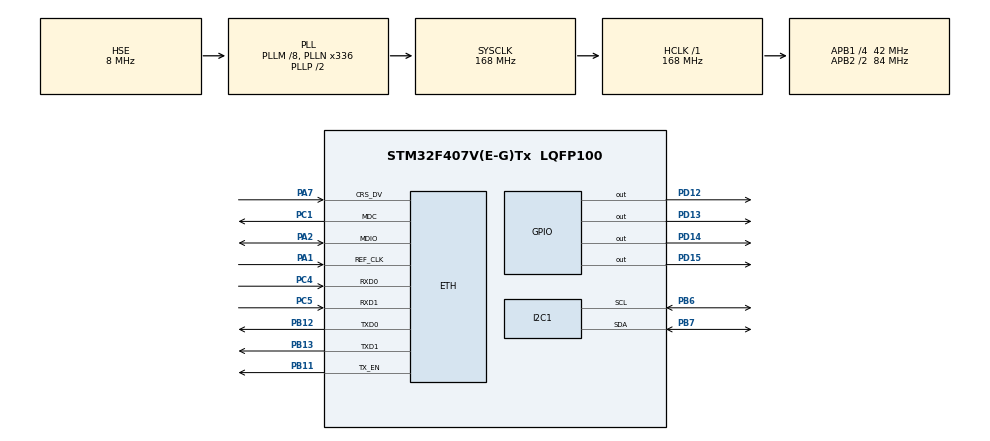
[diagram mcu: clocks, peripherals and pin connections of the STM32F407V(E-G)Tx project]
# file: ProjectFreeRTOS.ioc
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ETH.MediaInterface=ETH_MEDIA_INTERFACE_RMII
FREERTOS.Tasks01=defaultTask,24,512,StartDefaultTask,Default,NULL,Dynamic,NULL,NULL;networkTask,8,1024,StartNetworkTask,Default,NULL,Dynamic,NULL,NULL;tempTask,8,256,StartTempTask,Default,NULL,Dynamic,NULL,NULL
FREERTOS.configCHECK_FOR_STACK_OVERFLOW=1
LWIP.GATEWAY_ADDRESS=192.168.001.001
LWIP.IP_ADDRESS=192.168.001.012
LWIP.LWIP_DHCP=0
LWIP.NETMASK_ADDRESS=255.255.255.000
LWIP.Version=v2.0.3_Cube
Mcu.Family=STM32F4
Mcu.Name=STM32F407V(E-G)Tx
Mcu.Package=LQFP100
NVIC.ETH_IRQn=true\:5\:0\:false\:false\:true\:true\:false\:true
NVIC.PriorityGroup=NVIC_PRIORITYGROUP_4
PA1.Mode=RMII
PA1.Signal=ETH_REF_CLK
PA2.Mode=RMII
PA2.Signal=ETH_MDIO
PA7.Mode=RMII
PA7.Signal=ETH_CRS_DV
PB11.Mode=RMII
PB11.Signal=ETH_TX_EN
PB12.Mode=RMII
PB12.Signal=ETH_TXD0
PB13.Mode=RMII
PB13.Signal=ETH_TXD1
PB6.Mode=I2C
PB6.Signal=I2C1_SCL
PB7.Mode=I2C
PB7.Signal=I2C1_SDA
PC1.Mode=RMII
PC1.Signal=ETH_MDC
PC4.Mode=RMII
PC4.Signal=ETH_RXD0
PC5.Mode=RMII
PC5.Signal=ETH_RXD1
PD12.Signal=GPIO_Output
PD13.Signal=GPIO_Output
PD14.Signal=GPIO_Output
PD15.Signal=GPIO_Output
PH0-OSC_IN.Mode=HSE-External-Oscillator
PH0-OSC_IN.Signal=RCC_OSC_IN
PH1-OSC_OUT.Mode=HSE-External-Oscillator
PH1-OSC_OUT.Signal=RCC_OSC_OUT
ProjectManager.HeapSize=0x200
ProjectManager.StackSize=0x400
ProjectManager.TargetToolchain=STM32CubeIDE
RCC.48MHZClocksFreq_Value=84000000
RCC.AHBFreq_Value=168000000
RCC.APB1CLKDivider=RCC_HCLK_DIV4
RCC.APB1Freq_Value=42000000
RCC.APB1TimFreq_Value=84000000
RCC.APB2CLKDivider=RCC_HCLK_DIV2
RCC.APB2Freq_Value=84000000
RCC.APB2TimFreq_Value=168000000
RCC.CortexFreq_Value=168000000
RCC.HCLKFreq_Value=168000000
RCC.HSE_VALUE=8000000
RCC.HSI_VALUE=16000000
RCC.LSE_VALUE=32768
RCC.PLLM=8
RCC.PLLN=336
RCC.PLLSourceVirtual=RCC_PLLSOURCE_HSE
RCC.SYSCLKFreq_VALUE=168000000
RCC.SYSCLKSource=RCC_SYSCLKSOURCE_PLLCLK
RCC.VCOOutputFreq_Value=336000000
VP_FREERTOS_VS_CMSIS_V2.Mode=CMSIS_V2
VP_LWIP_VS_Enabled.Mode=Enabled
board=custom

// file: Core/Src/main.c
/* USER CODE BEGIN Header */
/**
  ******************************************************************************
  * @file           : main.c
  * @brief          : Main program body
  ******************************************************************************
  * @attention
  *
  * <h2><center>&copy; Copyright (c) 2019 STMicroelectronics.
  * All rights reserved.</center></h2>
  *
  * This software component is licensed by ST under BSD 3-Clause license,
  * the "License"; You may not use this file except in compliance with the
  * License. You may obtain a copy of the License at:
  *                        opensource.org/licenses/BSD-3-Clause
  *
  ******************************************************************************
  */
/* USER CODE END Header */

#include "main.h"
#include "cmsis_os.h"
#include "lwip.h"

/* USER CODE BEGIN Includes */

#include "lwip/api.h"
#include "task.h"

#include <stdio.h>
#include <string.h>
#include <math.h>

/* USER CODE END Includes */

I2C_HandleTypeDef hi2c1;

osThreadId_t defaultTaskHandle;
osThreadId_t networkTaskHandle;
osThreadId_t tempTaskHandle;
/* USER CODE BEGIN PV */

/* Generic */
signed char* overflowTaskName;

/* Network */
extern struct netif gnetif;
IpAddr serverIp = { 192, 168, 1, 9 };
ip_addr_t serverAddr;
u16_t serverPort = 3000;
char jsonString[50];
char requestString[150];
osSemaphoreId_t networkSemaphore;
err_t serverConnStatus = -1;

/* Temperature */
uint8_t data_write[3];
uint8_t data_read[2];
double avgTemp = -1; // average temp computed from our temp buffer
double baselineTemp = -1; // last sent temp. We use it to only send temp when the difference is big enough
double tempBuffer[TEMP_BUFFER_SIZE]; // temperature value buffer
osMessageQueueId_t tempQueue;

/* USER CODE END PV */

void SystemClock_Config(void);
static void MX_GPIO_Init(void);
static void MX_I2C1_Init(void);
void StartDefaultTask(void *argument);
void StartNetworkTask(void *argument);
void StartTempTask(void *argument);

/* USER CODE BEGIN PFP */

void createHttpTempRequest(char* outputString, IpAddr ip, u16_t port, double temp);
void parseDouble(char* output, double value, uint8_t precision);

/* USER CODE END PFP */

int main(void)
{
  /* USER CODE BEGIN 1 */

	// Convert our ip data structure into a format that lwip uses
	IP_ADDR4(&serverAddr, serverIp.addr0, serverIp.addr1, serverIp.addr2, serverIp.addr3);

	tempQueue = osMessageQueueNew(1, sizeof(double), NULL);
	networkSemaphore = osSemaphoreNew(1, 0, NULL);

  /* USER CODE END 1 */

  /* MCU Configuration--------------------------------------------------------*/

  /* Reset of all peripherals, Initializes the Flash interface and the Systick. */
  HAL_Init();

  /* Configure the system clock */
  SystemClock_Config();

  /* Initialize all configured peripherals */
  MX_GPIO_Init();
  MX_I2C1_Init();

  osKernelInitialize();

  /* Create the thread(s) */
  /* definition and creation of defaultTask */
  const osThreadAttr_t defaultTask_attributes = {
    .name = "defaultTask",
    .priority = (osPriority_t) osPriorityNormal,
    .stack_size = 512
  };
  defaultTaskHandle = osThreadNew(StartDefaultTask, NULL, &defaultTask_attributes);

  /* definition and creation of networkTask */
  const osThreadAttr_t networkTask_attributes = {
    .name = "networkTask",
    .priority = (osPriority_t) osPriorityLow,
    .stack_size = 1024
  };
  networkTaskHandle = osThreadNew(StartNetworkTask, NULL, &networkTask_attributes);

  /* definition and creation of tempTask */
  const osThreadAttr_t tempTask_attributes = {
    .name = "tempTask",
    .priority = (osPriority_t) osPriorityLow,
    .stack_size = 256
  };
  tempTaskHandle = osThreadNew(StartTempTask, NULL, &tempTask_attributes);

  /* USER CODE BEGIN RTOS_THREADS */
  /* add threads, ... */

  /*const osThreadAttr_t accTask_attributes = {
      .name = "accTask",
      .priority = (osPriority_t) osPriorityNormal,
      .stack_size = 128
    };
  accTaskHandle = osThreadNew(StartAccTask, NULL, &accTask_attributes);*/

  /* USER CODE END RTOS_THREADS */

  /* Start scheduler */
  osKernelStart();

  /* We should never get here as control is now taken by the scheduler */

  /* Infinite loop */
  while (1)
  {

  }
}

void SystemClock_Config(void)
{
  RCC_OscInitTypeDef RCC_OscInitStruct = {0};
  RCC_ClkInitTypeDef RCC_ClkInitStruct = {0};

  /** Configure the main internal regulator output voltage
  */
  __HAL_RCC_PWR_CLK_ENABLE();
  __HAL_PWR_VOLTAGESCALING_CONFIG(PWR_REGULATOR_VOLTAGE_SCALE1);
  /** Initializes the CPU, AHB and APB busses clocks
  */
  RCC_OscInitStruct.OscillatorType = RCC_OSCILLATORTYPE_HSE;
  RCC_OscInitStruct.HSEState = RCC_HSE_ON;
  RCC_OscInitStruct.PLL.PLLState = RCC_PLL_ON;
  RCC_OscInitStruct.PLL.PLLSource = RCC_PLLSOURCE_HSE;
  RCC_OscInitStruct.PLL.PLLM = 8;
  RCC_OscInitStruct.PLL.PLLN = 336;
  RCC_OscInitStruct.PLL.PLLP = RCC_PLLP_DIV2;
  RCC_OscInitStruct.PLL.PLLQ = 4;
  if (HAL_RCC_OscConfig(&RCC_OscInitStruct) != HAL_OK)
  {
    Error_Handler();
  }
  /** Initializes the CPU, AHB and APB busses clocks
  */
  RCC_ClkInitStruct.ClockType = RCC_CLOCKTYPE_HCLK|RCC_CLOCKTYPE_SYSCLK
                              |RCC_CLOCKTYPE_PCLK1|RCC_CLOCKTYPE_PCLK2;
  RCC_ClkInitStruct.SYSCLKSource = RCC_SYSCLKSOURCE_PLLCLK;
  RCC_ClkInitStruct.AHBCLKDivider = RCC_SYSCLK_DIV1;
  RCC_ClkInitStruct.APB1CLKDivider = RCC_HCLK_DIV4;
  RCC_ClkInitStruct.APB2CLKDivider = RCC_HCLK_DIV2;

  if (HAL_RCC_ClockConfig(&RCC_ClkInitStruct, FLASH_LATENCY_5) != HAL_OK)
  {
    Error_Handler();
  }
}

static void MX_I2C1_Init(void)
{

  hi2c1.Instance = I2C1;
  hi2c1.Init.ClockSpeed = 100000;
  hi2c1.Init.DutyCycle = I2C_DUTYCYCLE_2;
  hi2c1.Init.OwnAddress1 = 0;
  hi2c1.Init.AddressingMode = I2C_ADDRESSINGMODE_7BIT;
  hi2c1.Init.DualAddressMode = I2C_DUALADDRESS_DISABLE;
  hi2c1.Init.OwnAddress2 = 0;
  hi2c1.Init.GeneralCallMode = I2C_GENERALCALL_DISABLE;
  hi2c1.Init.NoStretchMode = I2C_NOSTRETCH_DISABLE;
  if (HAL_I2C_Init(&hi2c1) != HAL_OK)
  {
    Error_Handler();
  }

}

static void MX_GPIO_Init(void)
{
  GPIO_InitTypeDef GPIO_InitStruct = {0};

  /* GPIO Ports Clock Enable */
  __HAL_RCC_GPIOH_CLK_ENABLE();
  __HAL_RCC_GPIOC_CLK_ENABLE();
  __HAL_RCC_GPIOA_CLK_ENABLE();
  __HAL_RCC_GPIOB_CLK_ENABLE();
  __HAL_RCC_GPIOD_CLK_ENABLE();

  /*Configure GPIO pin Output Level */
  HAL_GPIO_WritePin(GPIOD, GPIO_PIN_12|GPIO_PIN_13|GPIO_PIN_14|GPIO_PIN_15, GPIO_PIN_RESET);

  /*Configure GPIO pins : PD12 PD13 PD14 PD15 */
  GPIO_InitStruct.Pin = GPIO_PIN_12|GPIO_PIN_13|GPIO_PIN_14|GPIO_PIN_15;
  GPIO_InitStruct.Mode = GPIO_MODE_OUTPUT_PP;
  GPIO_InitStruct.Pull = GPIO_NOPULL;
  GPIO_InitStruct.Speed = GPIO_SPEED_FREQ_LOW;
  HAL_GPIO_Init(GPIOD, &GPIO_InitStruct);

}

/* USER CODE BEGIN 4 */
/*void HAL_GPIO_EXTI_Callback(uint16_t GPIO_Pin)
{
	accDataRdyFlag = 1;
	HAL_GPIO_TogglePin(GPIOD, LED_ORANGE);
	//HAL_GPIO_EXTI_IRQHandler(GPIO_PIN_0);
}*/

void parseDouble(char* output, double value, uint8_t precision) {
	int integerPart = (int)value;
	float floatingPointPart = (value - integerPart) * pow(10, precision);
	sprintf(output, "%d.%d", (int)integerPart, (int)floatingPointPart);
}

void createHttpTempRequest(char* outputString, IpAddr ip, u16_t port, double temp) {
	char ipString[15];
	sprintf(ipString, "%d.%d.%d.%d", ip.addr0, ip.addr1, ip.addr2, ip.addr3);

	char jsonFormat[] = "{\"temp\":%s}";
	char tempString[10];
	parseDouble(tempString, temp, 4);
	sprintf(jsonString, jsonFormat, tempString);

	char requestFormat[] = "POST /temp HTTP/1.0\r\n\
Host: %s:%d\r\n\
Content-Type: application/json\r\n\
Content-Length: %d\r\n\
\r\n\
%s\r\n\
\r\n";

	sprintf(outputString, requestFormat, ipString, port, strlen(jsonString), jsonString);
}

void vApplicationStackOverflowHook(xTaskHandle xTask, signed char *pcTaskName) {
	overflowTaskName = pcTaskName;
	HAL_GPIO_WritePin(GPIOD, LED_RED, 1);
}

/* USER CODE END 4 */

void StartDefaultTask(void *argument)
{
  /* init code for LWIP */
  MX_LWIP_Init();
  /* USER CODE BEGIN 5 */

  /* Infinite loop */
  for(;;)
  {
	  /* Async init code */

	  /* LED indicators */

	  // Check if DHCP got an addr from router
	  if (gnetif.ip_addr.addr != 0) {
		  // Signal network task that the network is ready for sending data
		  osSemaphoreRelease(networkSemaphore);
		  HAL_GPIO_WritePin(GPIOD, LED_GREEN, 1);
	  }

	  osDelay(50);
  }
  /* USER CODE END 5 */
}

void StartNetworkTask(void *argument)
{
  /* USER CODE BEGIN StartNetworkTask */

	// Wait for network connection to be established
	osSemaphoreAcquire(networkSemaphore, portMAX_DELAY);

  /* Infinite loop */
  for(;;)
  {
	  // Wait for the new avg temp message
	  osMessageQueueGet(tempQueue, &avgTemp, NULL, portMAX_DELAY);

	  // Establish connection to server
	  struct netconn* conn = netconn_new(NETCONN_TCP);
	  serverConnStatus = netconn_connect(conn, &serverAddr, serverPort);
	  if (serverConnStatus == ERR_OK) {
		  // Send json temp value to server
		  createHttpTempRequest(requestString, serverIp, serverPort, avgTemp);
		  netconn_write(conn, requestString, strlen(requestString), NETCONN_NOFLAG);

		  // Indicate that data was sent
		  HAL_GPIO_TogglePin(GPIOD, LED_BLUE);
	  }
	  else {
		  HAL_GPIO_WritePin(GPIOD, LED_BLUE, 0);
	  }

	  netconn_delete(conn);

	  osDelay(100);
  }
  /* USER CODE END StartNetworkTask */
}

void StartTempTask(void *argument)
{
  /* USER CODE BEGIN StartTempTask */

	data_write[0] = MCP9808_REG_CONF;
	data_write[1] = 0x00;  // config msb
	data_write[2] = 0x00;  // config lsb
	HAL_I2C_Master_Transmit(&hi2c1, (uint16_t)MCP9808_ADDR, (uint8_t*)data_write, 3, 10);
	osDelay(20);

	int buffer_index = 0;

  /* Infinite loop */
  for(;;)
  {
	  // Read temperature register
	  data_write[0] = MCP9808_REG_TEMP;
	  HAL_I2C_Master_Transmit(&hi2c1, (uint16_t)MCP9808_ADDR, (uint8_t*)data_write, 1, 10); // no stop
	  HAL_I2C_Master_Receive(&hi2c1, (uint16_t)MCP9808_ADDR, (uint8_t*)data_read, 2, 10);

	  data_read[0] = data_read[0] & 0x1F;  // clear flag bits

	  /* Calculate temp with 0.25 precision */
	  double temp = -1;
	  if((data_read[0] & 0x10) == 0x10) {
		  // Negative temp
		  data_read[0] = data_read[0] & 0x0F;
		  temp = 256 - (data_read[0] << 4) + (data_read[1] >> 4);
	  } else {
		  // Positive temp
		  temp = (data_read[0] << 4) + (data_read[1] >> 4);
	  }

	  // fractional part (0.25°C precision)
	  if (data_read[1] & 0x08) {
		  if(data_read[1] & 0x04) {
			  temp += 0.75;
		  } else {
			  temp += 0.5;
		  }
	  } else {
		  if(data_read[1] & 0x04) {
			  temp += 0.25;
		  }
	  }

	  tempBuffer[buffer_index++] = temp;

	  if (buffer_index == TEMP_BUFFER_SIZE) {
		  // Calculate avg. temp
		  avgTemp = 0;
		  for (int i = 0; i < TEMP_BUFFER_SIZE; i++) {
			  avgTemp += tempBuffer[i];
		  }
		  avgTemp = avgTemp/TEMP_BUFFER_SIZE;

		  // Send avg. temp to network task via message queue
		  if (avgTemp > (baselineTemp + TEMP_DIFF) || avgTemp < (baselineTemp - TEMP_DIFF)) {
			  osMessageQueuePut(tempQueue, &avgTemp, 0, 0);
			  baselineTemp = avgTemp; // Set baseline temp to new baseline
		  }
		  else {
			  // Reset the server send led status because the task is blocked while waiting for new message
			  // This is redundant piece of code
			  HAL_GPIO_WritePin(GPIOD, LED_BLUE, 0);
		  }

		  buffer_index = 0;
	  }

	  //HAL_GPIO_TogglePin(GPIOD, LED_ORANGE);

	  osDelay(50);
  }
  /* USER CODE END StartTempTask */
}

void Error_Handler(void)
{
}

/************************ (C) COPYRIGHT STMicroelectronics *****END OF FILE****/

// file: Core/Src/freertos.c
/* USER CODE BEGIN Header */
/**
  ******************************************************************************
  * File Name          : freertos.c
  * Description        : Code for freertos applications
  ******************************************************************************
  * @attention
  *
  * <h2><center>&copy; Copyright (c) 2019 STMicroelectronics.
  * All rights reserved.</center></h2>
  *
  * This software component is licensed by ST under Ultimate Liberty license
  * SLA0044, the "License"; You may not use this file except in compliance with
  * the License. You may obtain a copy of the License at:
  *                             www.st.com/SLA0044
  *
  ******************************************************************************
  */
/* USER CODE END Header */

#include "FreeRTOS.h"
#include "task.h"
#include "main.h"

/* Hook prototypes */
void vApplicationStackOverflowHook(xTaskHandle xTask, signed char *pcTaskName);

/* USER CODE BEGIN 4 */
__weak void vApplicationStackOverflowHook(xTaskHandle xTask, signed char *pcTaskName)
{
   /* Run time stack overflow checking is performed if
   configCHECK_FOR_STACK_OVERFLOW is defined to 1 or 2. This hook function is
   called if a stack overflow is detected. */
}
/* USER CODE END 4 */

/************************ (C) COPYRIGHT STMicroelectronics *****END OF FILE****/
